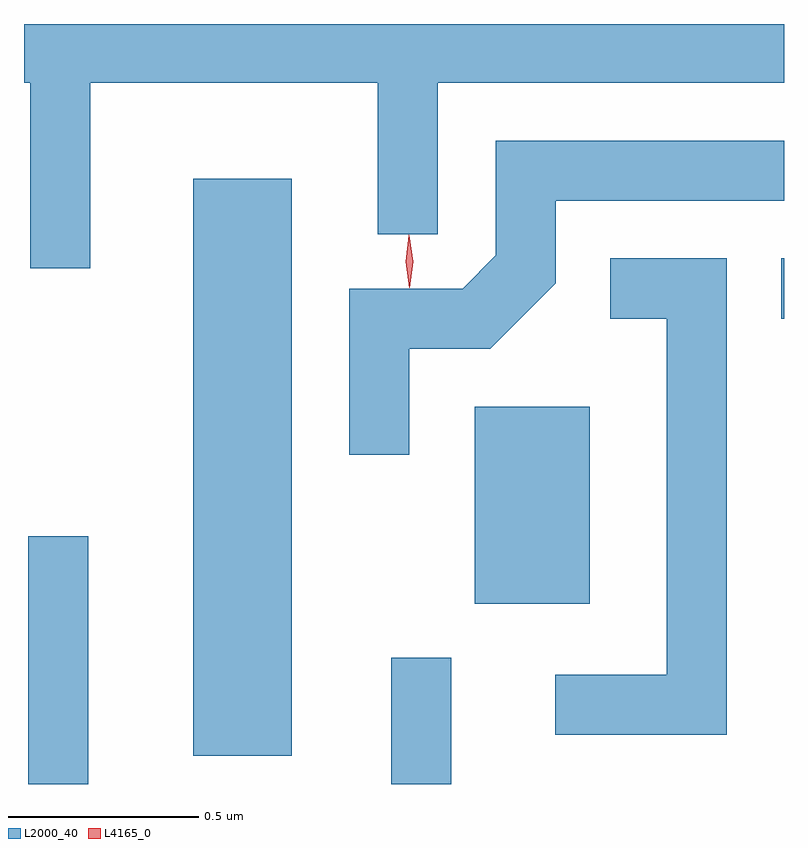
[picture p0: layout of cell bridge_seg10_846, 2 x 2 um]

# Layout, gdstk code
import gdstk
lib = gdstk.Library(unit=1e-6, precision=1e-09)
def R(c, l, rs):  # rectangles x0, y0, x1, y1
    for r in rs: c.add(gdstk.rectangle(r[:2], r[2:], *l))
def P(c, l, *ps):  # polygons
    for p in ps: c.add(gdstk.Polygon(p, *l))
L2000_40 = (2000, 40)
L4165_0 = (4165, 0)

bridge_seg10_846 = lib.new_cell('bridge_seg10_846')
R(bridge_seg10_846, L2000_40, [(356.881,2127.611,357.039,2128.263), (357.836,2127.611,357.994,2127.943), (357.316,2127.686,357.574,2129.204), (358.056,2128.086,358.359,2128.604), (358.863,2128.836,358.87,2128.994)])
P(bridge_seg10_846, L2000_40, [(357.044,2129.456),(357.801,2129.456),(357.801,2129.058),(357.959,2129.058),(357.959,2129.456),(358.87,2129.456),(358.87,2129.611),(356.87,2129.611),(356.87,2129.456),(356.886,2129.456),(356.886,2128.968),(357.044,2128.968)],
  [(357.884,2128.756),(358.097,2128.756),(358.269,2128.929),(358.269,2129.146),(358.87,2129.146),(358.87,2129.304),(358.111,2129.304),(358.111,2129.002),(358.024,2128.914),(357.726,2128.914),(357.726,2128.478),(357.884,2128.478)],
  [(358.719,2128.994),(358.413,2128.994),(358.413,2128.836),(358.561,2128.836),(358.561,2127.899),(358.268,2127.899),(358.268,2127.741),(358.719,2127.741)])
P(bridge_seg10_846, L4165_0, [(357.884,2128.917),(357.874,2128.986),(357.882,2129.055),(357.883,2129.056),(357.884,2129.055),(357.894,2128.986),(357.885,2128.917),(357.885,2128.917)],
  [(357.885,2128.919),(357.884,2128.92),(357.874,2128.986),(357.882,2129.052),(357.883,2129.052),(357.884,2129.052),(357.894,2128.986),(357.885,2128.92)])

lib.write_gds('bridge_seg10_846.gds')
